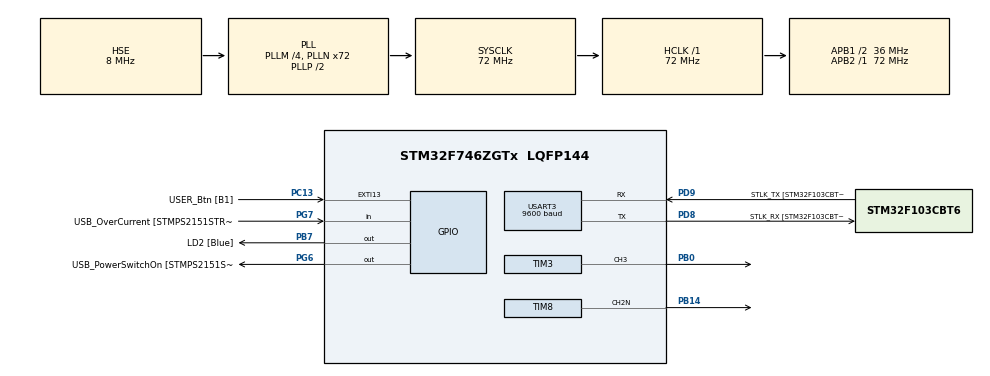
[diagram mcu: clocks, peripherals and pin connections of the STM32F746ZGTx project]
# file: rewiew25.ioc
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FREERTOS.INCLUDE_vTaskDelayUntil=1
FREERTOS.Queues01=uart3_rx_queue,16,uint8_t,0,Dynamic,NULL,NULL;pwm_queue,16,uint16_t,0,Dynamic,NULL,NULL
FREERTOS.Tasks01=receiver,0,128,receiverTask,Default,NULL,Dynamic,NULL,NULL;setPWM,1,128,setPWMTask,Default,NULL,Dynamic,NULL,NULL
Mcu.Family=STM32F7
Mcu.Name=STM32F746ZGTx
Mcu.Package=LQFP144
NVIC.PriorityGroup=NVIC_PRIORITYGROUP_4
NVIC.TIM2_IRQn=true\:0\:0\:false\:false\:true\:false\:false\:true
NVIC.TimeBase=TIM2_IRQn
NVIC.TimeBaseIP=TIM2
NVIC.USART3_IRQn=true\:5\:0\:false\:false\:true\:true\:true\:true
PA1.GPIO_Label=RMII_REF_CLK [LAN8742A-CZ-TR_REFCLK0]
PA1.Signal=ETH_REF_CLK
PA10.GPIO_Label=USB_ID
PA10.Signal=USB_OTG_FS_ID
PA11.GPIO_Label=USB_DM
PA11.Signal=USB_OTG_FS_DM
PA12.GPIO_Label=USB_DP
PA12.Signal=USB_OTG_FS_DP
PA13.GPIO_Label=TMS
PA13.Mode=Serial_Wire
PA13.Signal=SYS_JTMS-SWDIO
PA14.GPIO_Label=TCK
PA14.Mode=Serial_Wire
PA14.Signal=SYS_JTCK-SWCLK
PA2.GPIO_Label=RMII_MDIO [LAN8742A-CZ-TR_MDIO]
PA2.Signal=ETH_MDIO
PA7.GPIO_Label=RMII_CRS_DV [LAN8742A-CZ-TR_CRS_DV]
PA7.Signal=ETH_CRS_DV
PA8.GPIO_Label=USB_SOF [TP1]
PA8.Signal=USB_OTG_FS_SOF
PA9.GPIO_Label=USB_VBUS
PA9.Signal=USB_OTG_FS_VBUS
PB0.Signal=S_TIM3_CH3
PB13.GPIO_Label=RMII_TXD1 [LAN8742A-CZ-TR_TXD1]
PB13.Signal=ETH_TXD1
PB14.Mode=PWM Generation2 CH2N
PB14.Signal=TIM8_CH2N
PB3.GPIO_Label=SW0
PB3.Signal=SYS_JTDO-SWO
PB7.GPIO_Label=LD2 [Blue]
PB7.Signal=GPIO_Output
PC1.GPIO_Label=RMII_MDC [LAN8742A-CZ-TR_MDC]
PC1.Signal=ETH_MDC
PC13.GPIO_Label=USER_Btn [B1]
PC13.Signal=GPXTI13
PC14/OSC32_IN.Mode=LSE-External-Oscillator
PC14/OSC32_IN.Signal=RCC_OSC32_IN
PC15/OSC32_OUT.Mode=LSE-External-Oscillator
PC15/OSC32_OUT.Signal=RCC_OSC32_OUT
PC4.GPIO_Label=RMII_RXD0 [LAN8742A-CZ-TR_RXD0]
PC4.Signal=ETH_RXD0
PC5.GPIO_Label=RMII_RXD1 [LAN8742A-CZ-TR_RXD1]
PC5.Signal=ETH_RXD1
PD8.GPIO_Label=STLK_RX [STM32F103CBT6_PA3]
PD8.Mode=Asynchronous
PD8.Signal=USART3_TX
PD9.GPIO_Label=STLK_TX [STM32F103CBT6_PA2]
PD9.Mode=Asynchronous
PD9.Signal=USART3_RX
PG11.GPIO_Label=RMII_TX_EN [LAN8742A-CZ-TR_TXEN]
PG11.Signal=ETH_TX_EN
PG13.GPIO_Label=RMII_TXD0 [LAN8742A-CZ-TR_TXD0]
PG13.Signal=ETH_TXD0
PG6.GPIO_Label=USB_PowerSwitchOn [STMPS2151STR_EN]
PG6.Signal=GPIO_Output
PG7.GPIO_Label=USB_OverCurrent [STMPS2151STR_FAULT]
PG7.Signal=GPIO_Input
PH0/OSC_IN.GPIO_Label=MCO [STM32F103CBT6_PA8]
PH0/OSC_IN.Mode=HSE-External-Clock-Source
PH0/OSC_IN.Signal=RCC_OSC_IN
PH1/OSC_OUT.Mode=HSE-External-Clock-Source
PH1/OSC_OUT.Signal=RCC_OSC_OUT
ProjectManager.HeapSize=0x200
ProjectManager.StackSize=0x400
ProjectManager.TargetToolchain=STM32CubeIDE
RCC.48MHZClocksFreq_Value=24000000
RCC.AHBFreq_Value=72000000
RCC.APB1CLKDivider=RCC_HCLK_DIV2
RCC.APB1Freq_Value=36000000
RCC.APB1TimFreq_Value=72000000
RCC.APB2Freq_Value=72000000
RCC.APB2TimFreq_Value=72000000
RCC.CortexFreq_Value=72000000
RCC.HCLKFreq_Value=72000000
RCC.HSE_VALUE=8000000
RCC.HSI_VALUE=16000000
RCC.PLLM=4
RCC.PLLMUL=RCC_PLL_MUL9
RCC.PLLN=72
RCC.PLLQ=3
RCC.PLLSourceVirtual=RCC_PLLSOURCE_HSE
RCC.PRESCALERUSB=RCC_USBCLKSOURCE_PLL_DIV1_5
RCC.SYSCLKFreq_VALUE=72000000
RCC.SYSCLKSource=RCC_SYSCLKSOURCE_PLLCLK
RCC.SYSCLKSourceVirtual=RCC_SYSCLKSOURCE_PLLCLK
RCC.USBFreq_Value=48000000
RCC.VCOOutputFreq_Value=144000000
SH.S_TIM3_CH3.0=TIM3_CH3,PWM Generation3 CH3
TIM3.Channel-PWM\ Generation3\ CH3=TIM_CHANNEL_3
TIM3.Period=99
TIM3.Prescaler=1439
TIM8.Channel-PWM\ Generation2\ CH2N=TIM_CHANNEL_2
TIM8.Period=99
TIM8.Prescaler=1439
USART3.BaudRate=9600
USART3.VirtualMode-Asynchronous=VM_ASYNC
VP_FREERTOS_VS_CMSIS_V1.Mode=CMSIS_V1
VP_SYS_VS_tim2.Mode=TIM2
VP_TIM3_VS_ClockSourceINT.Mode=Internal
VP_TIM8_VS_ClockSourceINT.Mode=Internal
board=NUCLEO-F746ZG

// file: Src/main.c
/* USER CODE BEGIN Header */
/**
  ******************************************************************************
  * @file           : main.c
  * @brief          : Main program body
  ******************************************************************************
  * @attention
  *
  * <h2><center>&copy; Copyright (c) 2020 STMicroelectronics.
  * All rights reserved.</center></h2>
  *
  * This software component is licensed by ST under Ultimate Liberty license
  * SLA0044, the "License"; You may not use this file except in compliance with
  * the License. You may obtain a copy of the License at:
  *                             www.st.com/SLA0044
  *
  ******************************************************************************
  */
/* USER CODE END Header */
#include "main.h"
#include "cmsis_os.h"

/* USER CODE BEGIN PTD */
struct setPWMmessage_t {
	uint8_t pwmRED;
	uint8_t pwmGRN;
};

/* USER CODE END PTD */

TIM_HandleTypeDef htim3;
TIM_HandleTypeDef htim8;

UART_HandleTypeDef huart3;

osThreadId receiverHandle;
osThreadId setPWMHandle;
osMessageQId uart3_rx_queueHandle;
osMessageQId pwm_queueHandle;

void SystemClock_Config(void);
static void MX_GPIO_Init(void);
static void MX_USART3_UART_Init(void);
static void MX_TIM3_Init(void);
static void MX_TIM8_Init(void);
void receiverTask(void const * argument);
void setPWMTask(void const * argument);

int main(void)
{

  /* MCU Configuration--------------------------------------------------------*/

  /* Reset of all peripherals, Initializes the Flash interface and the Systick. */
  HAL_Init();

  /* Configure the system clock */
  SystemClock_Config();

  /* Initialize all configured peripherals */
  MX_GPIO_Init();
  MX_USART3_UART_Init();
  MX_TIM3_Init();
  MX_TIM8_Init();
  /* USER CODE BEGIN 2 */
  __HAL_UART_ENABLE_IT(&huart3, UART_IT_RXNE);
  HAL_TIM_PWM_Start(&htim3, TIM_CHANNEL_3);
  TIM3->CCR3 = 0; // range: 0 to 100
  HAL_TIM_PWM_Start(&htim8, TIM_CHANNEL_2);
  TIM8->CCR2 = 0; // range: 0 to 100
  /* USER CODE END 2 */

  /* Create the queue(s) */
  /* definition and creation of uart3_rx_queue */
  osMessageQDef(uart3_rx_queue, 16, uint8_t);
  uart3_rx_queueHandle = osMessageCreate(osMessageQ(uart3_rx_queue), NULL);

  /* definition and creation of pwm_queue */
  osMessageQDef(pwm_queue, 16, uint16_t);
  pwm_queueHandle = osMessageCreate(osMessageQ(pwm_queue), NULL);

  /* Create the thread(s) */
  /* definition and creation of receiver */
  osThreadDef(receiver, receiverTask, osPriorityNormal, 0, 128);
  receiverHandle = osThreadCreate(osThread(receiver), NULL);

  /* definition and creation of setPWM */
  osThreadDef(setPWM, setPWMTask, osPriorityAboveNormal, 0, 128);
  setPWMHandle = osThreadCreate(osThread(setPWM), NULL);

  /* Start scheduler */
  osKernelStart();

  /* We should never get here as control is now taken by the scheduler */
  /* Infinite loop */
  while (1)
  {

  }
}

void SystemClock_Config(void)
{
  RCC_OscInitTypeDef RCC_OscInitStruct = {0};
  RCC_ClkInitTypeDef RCC_ClkInitStruct = {0};

  /** Configure LSE Drive Capability
  */
  HAL_PWR_EnableBkUpAccess();
  /** Configure the main internal regulator output voltage
  */
  __HAL_RCC_PWR_CLK_ENABLE();
  __HAL_PWR_VOLTAGESCALING_CONFIG(PWR_REGULATOR_VOLTAGE_SCALE3);
  /** Initializes the RCC Oscillators according to the specified parameters
  * in the RCC_OscInitTypeDef structure.
  */
  RCC_OscInitStruct.OscillatorType = RCC_OSCILLATORTYPE_HSE;
  RCC_OscInitStruct.HSEState = RCC_HSE_BYPASS;
  RCC_OscInitStruct.PLL.PLLState = RCC_PLL_ON;
  RCC_OscInitStruct.PLL.PLLSource = RCC_PLLSOURCE_HSE;
  RCC_OscInitStruct.PLL.PLLM = 4;
  RCC_OscInitStruct.PLL.PLLN = 72;
  RCC_OscInitStruct.PLL.PLLP = RCC_PLLP_DIV2;
  RCC_OscInitStruct.PLL.PLLQ = 3;
  if (HAL_RCC_OscConfig(&RCC_OscInitStruct) != HAL_OK)
  {
    Error_Handler();
  }
  /** Initializes the CPU, AHB and APB buses clocks
  */
  RCC_ClkInitStruct.ClockType = RCC_CLOCKTYPE_HCLK|RCC_CLOCKTYPE_SYSCLK
                              |RCC_CLOCKTYPE_PCLK1|RCC_CLOCKTYPE_PCLK2;
  RCC_ClkInitStruct.SYSCLKSource = RCC_SYSCLKSOURCE_PLLCLK;
  RCC_ClkInitStruct.AHBCLKDivider = RCC_SYSCLK_DIV1;
  RCC_ClkInitStruct.APB1CLKDivider = RCC_HCLK_DIV2;
  RCC_ClkInitStruct.APB2CLKDivider = RCC_HCLK_DIV1;

  if (HAL_RCC_ClockConfig(&RCC_ClkInitStruct, FLASH_LATENCY_2) != HAL_OK)
  {
    Error_Handler();
  }
}

static void MX_TIM3_Init(void)
{

  TIM_ClockConfigTypeDef sClockSourceConfig = {0};
  TIM_MasterConfigTypeDef sMasterConfig = {0};
  TIM_OC_InitTypeDef sConfigOC = {0};

  htim3.Instance = TIM3;
  htim3.Init.Prescaler = 1439;
  htim3.Init.CounterMode = TIM_COUNTERMODE_UP;
  htim3.Init.Period = 99;
  htim3.Init.ClockDivision = TIM_CLOCKDIVISION_DIV1;
  htim3.Init.AutoReloadPreload = TIM_AUTORELOAD_PRELOAD_DISABLE;
  if (HAL_TIM_Base_Init(&htim3) != HAL_OK)
  {
    Error_Handler();
  }
  sClockSourceConfig.ClockSource = TIM_CLOCKSOURCE_INTERNAL;
  if (HAL_TIM_ConfigClockSource(&htim3, &sClockSourceConfig) != HAL_OK)
  {
    Error_Handler();
  }
  if (HAL_TIM_PWM_Init(&htim3) != HAL_OK)
  {
    Error_Handler();
  }
  sMasterConfig.MasterOutputTrigger = TIM_TRGO_RESET;
  sMasterConfig.MasterSlaveMode = TIM_MASTERSLAVEMODE_DISABLE;
  if (HAL_TIMEx_MasterConfigSynchronization(&htim3, &sMasterConfig) != HAL_OK)
  {
    Error_Handler();
  }
  sConfigOC.OCMode = TIM_OCMODE_PWM1;
  sConfigOC.Pulse = 0;
  sConfigOC.OCPolarity = TIM_OCPOLARITY_HIGH;
  sConfigOC.OCFastMode = TIM_OCFAST_DISABLE;
  if (HAL_TIM_PWM_ConfigChannel(&htim3, &sConfigOC, TIM_CHANNEL_3) != HAL_OK)
  {
    Error_Handler();
  }
  HAL_TIM_MspPostInit(&htim3);

}

static void MX_TIM8_Init(void)
{

  TIM_ClockConfigTypeDef sClockSourceConfig = {0};
  TIM_MasterConfigTypeDef sMasterConfig = {0};
  TIM_OC_InitTypeDef sConfigOC = {0};
  TIM_BreakDeadTimeConfigTypeDef sBreakDeadTimeConfig = {0};

  htim8.Instance = TIM8;
  htim8.Init.Prescaler = 1439;
  htim8.Init.CounterMode = TIM_COUNTERMODE_UP;
  htim8.Init.Period = 99;
  htim8.Init.ClockDivision = TIM_CLOCKDIVISION_DIV1;
  htim8.Init.RepetitionCounter = 0;
  htim8.Init.AutoReloadPreload = TIM_AUTORELOAD_PRELOAD_DISABLE;
  if (HAL_TIM_Base_Init(&htim8) != HAL_OK)
  {
    Error_Handler();
  }
  sClockSourceConfig.ClockSource = TIM_CLOCKSOURCE_INTERNAL;
  if (HAL_TIM_ConfigClockSource(&htim8, &sClockSourceConfig) != HAL_OK)
  {
    Error_Handler();
  }
  if (HAL_TIM_PWM_Init(&htim8) != HAL_OK)
  {
    Error_Handler();
  }
  sMasterConfig.MasterOutputTrigger = TIM_TRGO_RESET;
  sMasterConfig.MasterOutputTrigger2 = TIM_TRGO2_RESET;
  sMasterConfig.MasterSlaveMode = TIM_MASTERSLAVEMODE_DISABLE;
  if (HAL_TIMEx_MasterConfigSynchronization(&htim8, &sMasterConfig) != HAL_OK)
  {
    Error_Handler();
  }
  sConfigOC.OCMode = TIM_OCMODE_PWM1;
  sConfigOC.Pulse = 0;
  sConfigOC.OCPolarity = TIM_OCPOLARITY_HIGH;
  sConfigOC.OCNPolarity = TIM_OCNPOLARITY_HIGH;
  sConfigOC.OCFastMode = TIM_OCFAST_DISABLE;
  sConfigOC.OCIdleState = TIM_OCIDLESTATE_RESET;
  sConfigOC.OCNIdleState = TIM_OCNIDLESTATE_RESET;
  if (HAL_TIM_PWM_ConfigChannel(&htim8, &sConfigOC, TIM_CHANNEL_2) != HAL_OK)
  {
    Error_Handler();
  }
  sBreakDeadTimeConfig.OffStateRunMode = TIM_OSSR_DISABLE;
  sBreakDeadTimeConfig.OffStateIDLEMode = TIM_OSSI_DISABLE;
  sBreakDeadTimeConfig.LockLevel = TIM_LOCKLEVEL_OFF;
  sBreakDeadTimeConfig.DeadTime = 0;
  sBreakDeadTimeConfig.BreakState = TIM_BREAK_DISABLE;
  sBreakDeadTimeConfig.BreakPolarity = TIM_BREAKPOLARITY_HIGH;
  sBreakDeadTimeConfig.BreakFilter = 0;
  sBreakDeadTimeConfig.Break2State = TIM_BREAK2_DISABLE;
  sBreakDeadTimeConfig.Break2Polarity = TIM_BREAK2POLARITY_HIGH;
  sBreakDeadTimeConfig.Break2Filter = 0;
  sBreakDeadTimeConfig.AutomaticOutput = TIM_AUTOMATICOUTPUT_DISABLE;
  if (HAL_TIMEx_ConfigBreakDeadTime(&htim8, &sBreakDeadTimeConfig) != HAL_OK)
  {
    Error_Handler();
  }
  HAL_TIM_MspPostInit(&htim8);

}

static void MX_USART3_UART_Init(void)
{

  huart3.Instance = USART3;
  huart3.Init.BaudRate = 9600;
  huart3.Init.WordLength = UART_WORDLENGTH_8B;
  huart3.Init.StopBits = UART_STOPBITS_1;
  huart3.Init.Parity = UART_PARITY_NONE;
  huart3.Init.Mode = UART_MODE_TX_RX;
  huart3.Init.HwFlowCtl = UART_HWCONTROL_NONE;
  huart3.Init.OverSampling = UART_OVERSAMPLING_16;
  huart3.Init.OneBitSampling = UART_ONE_BIT_SAMPLE_DISABLE;
  huart3.AdvancedInit.AdvFeatureInit = UART_ADVFEATURE_NO_INIT;
  if (HAL_UART_Init(&huart3) != HAL_OK)
  {
    Error_Handler();
  }

}

static void MX_GPIO_Init(void)
{
  GPIO_InitTypeDef GPIO_InitStruct = {0};

  /* GPIO Ports Clock Enable */
  __HAL_RCC_GPIOC_CLK_ENABLE();
  __HAL_RCC_GPIOH_CLK_ENABLE();
  __HAL_RCC_GPIOA_CLK_ENABLE();
  __HAL_RCC_GPIOB_CLK_ENABLE();
  __HAL_RCC_GPIOD_CLK_ENABLE();
  __HAL_RCC_GPIOG_CLK_ENABLE();

  /*Configure GPIO pin Output Level */
  HAL_GPIO_WritePin(USB_PowerSwitchOn_GPIO_Port, USB_PowerSwitchOn_Pin, GPIO_PIN_RESET);

  /*Configure GPIO pin Output Level */
  HAL_GPIO_WritePin(LD2_GPIO_Port, LD2_Pin, GPIO_PIN_RESET);

  /*Configure GPIO pin : USER_Btn_Pin */
  GPIO_InitStruct.Pin = USER_Btn_Pin;
  GPIO_InitStruct.Mode = GPIO_MODE_IT_RISING;
  GPIO_InitStruct.Pull = GPIO_NOPULL;
  HAL_GPIO_Init(USER_Btn_GPIO_Port, &GPIO_InitStruct);

  /*Configure GPIO pins : RMII_MDC_Pin RMII_RXD0_Pin RMII_RXD1_Pin */
  GPIO_InitStruct.Pin = RMII_MDC_Pin|RMII_RXD0_Pin|RMII_RXD1_Pin;
  GPIO_InitStruct.Mode = GPIO_MODE_AF_PP;
  GPIO_InitStruct.Pull = GPIO_NOPULL;
  GPIO_InitStruct.Speed = GPIO_SPEED_FREQ_VERY_HIGH;
  GPIO_InitStruct.Alternate = GPIO_AF11_ETH;
  HAL_GPIO_Init(GPIOC, &GPIO_InitStruct);

  /*Configure GPIO pins : RMII_REF_CLK_Pin RMII_MDIO_Pin RMII_CRS_DV_Pin */
  GPIO_InitStruct.Pin = RMII_REF_CLK_Pin|RMII_MDIO_Pin|RMII_CRS_DV_Pin;
  GPIO_InitStruct.Mode = GPIO_MODE_AF_PP;
  GPIO_InitStruct.Pull = GPIO_NOPULL;
  GPIO_InitStruct.Speed = GPIO_SPEED_FREQ_VERY_HIGH;
  GPIO_InitStruct.Alternate = GPIO_AF11_ETH;
  HAL_GPIO_Init(GPIOA, &GPIO_InitStruct);

  /*Configure GPIO pin : RMII_TXD1_Pin */
  GPIO_InitStruct.Pin = RMII_TXD1_Pin;
  GPIO_InitStruct.Mode = GPIO_MODE_AF_PP;
  GPIO_InitStruct.Pull = GPIO_NOPULL;
  GPIO_InitStruct.Speed = GPIO_SPEED_FREQ_VERY_HIGH;
  GPIO_InitStruct.Alternate = GPIO_AF11_ETH;
  HAL_GPIO_Init(RMII_TXD1_GPIO_Port, &GPIO_InitStruct);

  /*Configure GPIO pin : USB_PowerSwitchOn_Pin */
  GPIO_InitStruct.Pin = USB_PowerSwitchOn_Pin;
  GPIO_InitStruct.Mode = GPIO_MODE_OUTPUT_PP;
  GPIO_InitStruct.Pull = GPIO_NOPULL;
  GPIO_InitStruct.Speed = GPIO_SPEED_FREQ_LOW;
  HAL_GPIO_Init(USB_PowerSwitchOn_GPIO_Port, &GPIO_InitStruct);

  /*Configure GPIO pin : USB_OverCurrent_Pin */
  GPIO_InitStruct.Pin = USB_OverCurrent_Pin;
  GPIO_InitStruct.Mode = GPIO_MODE_INPUT;
  GPIO_InitStruct.Pull = GPIO_NOPULL;
  HAL_GPIO_Init(USB_OverCurrent_GPIO_Port, &GPIO_InitStruct);

  /*Configure GPIO pins : USB_SOF_Pin USB_ID_Pin USB_DM_Pin USB_DP_Pin */
  GPIO_InitStruct.Pin = USB_SOF_Pin|USB_ID_Pin|USB_DM_Pin|USB_DP_Pin;
  GPIO_InitStruct.Mode = GPIO_MODE_AF_PP;
  GPIO_InitStruct.Pull = GPIO_NOPULL;
  GPIO_InitStruct.Speed = GPIO_SPEED_FREQ_VERY_HIGH;
  GPIO_InitStruct.Alternate = GPIO_AF10_OTG_FS;
  HAL_GPIO_Init(GPIOA, &GPIO_InitStruct);

  /*Configure GPIO pin : USB_VBUS_Pin */
  GPIO_InitStruct.Pin = USB_VBUS_Pin;
  GPIO_InitStruct.Mode = GPIO_MODE_INPUT;
  GPIO_InitStruct.Pull = GPIO_NOPULL;
  HAL_GPIO_Init(USB_VBUS_GPIO_Port, &GPIO_InitStruct);

  /*Configure GPIO pins : RMII_TX_EN_Pin RMII_TXD0_Pin */
  GPIO_InitStruct.Pin = RMII_TX_EN_Pin|RMII_TXD0_Pin;
  GPIO_InitStruct.Mode = GPIO_MODE_AF_PP;
  GPIO_InitStruct.Pull = GPIO_NOPULL;
  GPIO_InitStruct.Speed = GPIO_SPEED_FREQ_VERY_HIGH;
  GPIO_InitStruct.Alternate = GPIO_AF11_ETH;
  HAL_GPIO_Init(GPIOG, &GPIO_InitStruct);

  /*Configure GPIO pin : LD2_Pin */
  GPIO_InitStruct.Pin = LD2_Pin;
  GPIO_InitStruct.Mode = GPIO_MODE_OUTPUT_PP;
  GPIO_InitStruct.Pull = GPIO_NOPULL;
  GPIO_InitStruct.Speed = GPIO_SPEED_FREQ_LOW;
  HAL_GPIO_Init(LD2_GPIO_Port, &GPIO_InitStruct);

}

void receiverTask(void const * argument)
{
  /* USER CODE BEGIN 5 */
  /* Infinite loop */
  for(;;)
  {
	  BaseType_t status;
	  uint8_t buffer, bothPWM, options, checksum;
	  BaseType_t mode = 1;
	  do {
		  status = xQueueReceive(uart3_rx_queueHandle, &buffer, 1000 );
	  } while ( !status || buffer!=255);
	  status = xQueueReceive(uart3_rx_queueHandle, &bothPWM, 5 / portTICK_PERIOD_MS );
	  if (status) {
		  status = xQueueReceive(uart3_rx_queueHandle, &options, 5 / portTICK_PERIOD_MS );
		  if (status) {
			  status = xQueueReceive(uart3_rx_queueHandle, &checksum, 5 / portTICK_PERIOD_MS );
			  if ( status && ( (255 ^ bothPWM ^ options ^ checksum) ==0) )
			  {
				  struct setPWMmessage_t msg;
				  if (options & 0b00000010) mode=1;
				  if (options & 0b00000001) mode=0;
				  if (mode) {
					  msg.pwmRED = (bothPWM & 0x0F * 100) / 10; // or just *10
					  msg.pwmGRN = ( (bothPWM>>4) & 0x0F * 100) / 10; //
				  } else {
					  msg.pwmRED = 0;
					  msg.pwmGRN = 0;
				  }
				  xQueueSend(pwm_queueHandle, &msg, 5 / portTICK_PERIOD_MS); // if QW is full then sth. is wrong
			  }
		  }
	  }

    osDelay(1);
  }
  /* USER CODE END 5 */
}

void setPWMTask(void const * argument)
{
  /* USER CODE BEGIN setPWMTask */
	struct setPWMmessage_t msg;
  /* Infinite loop */
  for(;;)
  {
	BaseType_t status = xQueueReceive(pwm_queueHandle, &msg, 200 / portTICK_PERIOD_MS );
	if (status==pdTRUE) {
	  TIM3->CCR3 = msg.pwmRED; // range: 0 to 100
	  TIM8->CCR2 = msg.pwmGRN; // range: 0 to 100
	} else {
	  TIM3->CCR3 = 0; // range: 0 to 100
	  TIM8->CCR2 = 0; // range: 0 to 100
	}
    osDelay(1);
  }
  /* USER CODE END setPWMTask */
}

void HAL_TIM_PeriodElapsedCallback(TIM_HandleTypeDef *htim)
{
  if (htim->Instance == TIM2) {
    HAL_IncTick();
  }
}

void Error_Handler(void)
{
}
